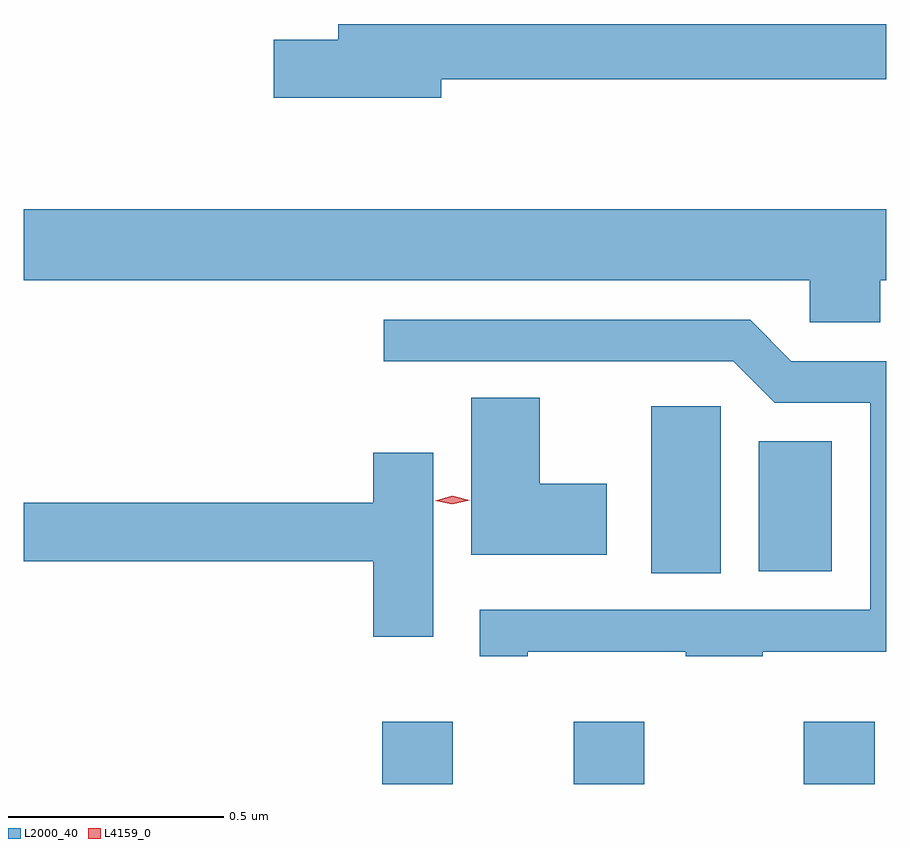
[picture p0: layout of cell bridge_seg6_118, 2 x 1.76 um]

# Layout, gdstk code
import gdstk
lib = gdstk.Library(unit=1e-6, precision=1e-09)
def R(c, l, rs):  # rectangles x0, y0, x1, y1
    for r in rs: c.add(gdstk.rectangle(r[:2], r[2:], *l))
def P(c, l, *ps):  # polygons
    for p in ps: c.add(gdstk.Polygon(p, *l))
L2000_40 = (2000, 40)
L4159_0 = (4159, 0)

bridge_seg6_118 = lib.new_cell('bridge_seg6_118')
R(bridge_seg6_118, L2000_40, [(458.405,978.136,458.569,978.28), (458.849,978.136,459.013,978.28), (459.383,978.136,459.547,978.28), (459.029,978.625,459.19,979.012), (459.278,978.629,459.448,978.931)])
P(bridge_seg6_118, L2000_40, [(458.542,979.77),(459.574,979.77),(459.574,979.898),(458.303,979.898),(458.303,979.862),(458.154,979.862),(458.154,979.727),(458.542,979.727)],
  [(459.56,979.304),(459.574,979.304),(459.574,979.468),(457.574,979.468),(457.574,979.304),(459.396,979.304),(459.396,979.206),(459.56,979.206)],
  [(458.743,978.443),(459.109,978.443),(459.109,978.432),(459.287,978.432),(459.287,978.443),(459.574,978.443),(459.574,979.116),(459.354,979.116),(459.258,979.212),(458.409,979.212),(458.409,979.116),(459.219,979.116),(459.315,979.02),(459.537,979.02),(459.537,978.54),(458.631,978.54),(458.631,978.432),(458.743,978.432)],
  [(458.926,978.832),(458.77,978.832),(458.77,979.031),(458.612,979.031),(458.612,978.668),(458.926,978.668)],
  [(458.524,978.904),(458.384,978.904),(458.384,978.788),(457.574,978.788),(457.574,978.652),(458.384,978.652),(458.384,978.477),(458.524,978.477)])
P(bridge_seg6_118, L4159_0, [(458.568,978.784),(458.528,978.793),(458.528,978.793),(458.528,978.793),(458.568,978.804),(458.608,978.794),(458.608,978.794),(458.608,978.794)])

lib.write_gds('bridge_seg6_118.gds')
